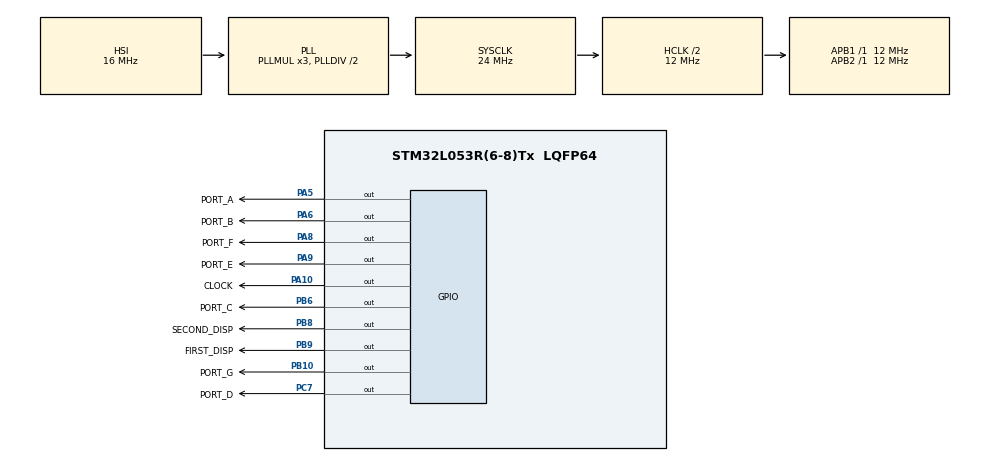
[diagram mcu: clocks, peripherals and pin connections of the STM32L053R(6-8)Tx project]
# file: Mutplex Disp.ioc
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Mcu.Family=STM32L0
Mcu.Name=STM32L053R(6-8)Tx
Mcu.Package=LQFP64
NVIC.TIM21_IRQn=true\:0\:0\:false\:false\:true\:true\:true\:true
PA10.GPIO_Label=CLOCK
PA10.Signal=GPIO_Output
PA5.GPIO_Label=PORT_A
PA5.Signal=GPIO_Output
PA6.GPIO_Label=PORT_B
PA6.Signal=GPIO_Output
PA8.GPIO_Label=PORT_F
PA8.Signal=GPIO_Output
PA9.GPIO_Label=PORT_E
PA9.Signal=GPIO_Output
PB10.GPIO_Label=PORT_G
PB10.Signal=GPIO_Output
PB6.GPIO_Label=PORT_C
PB6.Signal=GPIO_Output
PB8.GPIO_Label=SECOND_DISP
PB8.Signal=GPIO_Output
PB9.GPIO_Label=FIRST_DISP
PB9.Signal=GPIO_Output
PC7.GPIO_Label=PORT_D
PC7.Signal=GPIO_Output
ProjectManager.HeapSize=0x200
ProjectManager.StackSize=0x400
ProjectManager.TargetToolchain=STM32CubeIDE
RCC.AHBCLKDivider=RCC_SYSCLK_DIV2
RCC.AHBFreq_Value=12000000
RCC.APB1Freq_Value=12000000
RCC.APB1TimFreq_Value=12000000
RCC.APB2Freq_Value=12000000
RCC.APB2TimFreq_Value=12000000
RCC.HCLKFreq_Value=12000000
RCC.HSE_VALUE=8000000
RCC.HSI16_VALUE=16000000
RCC.HSI48_VALUE=48000000
RCC.HSI_VALUE=16000000
RCC.MSI_VALUE=2097000
RCC.SYSCLKFreq_VALUE=24000000
RCC.SYSCLKSource=RCC_SYSCLKSOURCE_PLLCLK
RCC.VCOOutputFreq_Value=48000000
TIM21.AutoReloadPreload=TIM_AUTORELOAD_PRELOAD_ENABLE
TIM21.Period=500
TIM21.Prescaler=12000
VP_TIM21_VS_ClockSourceINT.Mode=Internal
board=NUCLEO-L053R8

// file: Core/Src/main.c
/* USER CODE BEGIN Header */
/**
  ******************************************************************************
  * @file           : main.c
  * @brief          : Main program body
  ******************************************************************************
  * @attention
  *
  * Copyright (c) 2025 STMicroelectronics.
  * All rights reserved.
  *
  * This software is licensed under terms that can be found in the LICENSE file
  * in the root directory of this software component.
  * If no LICENSE file comes with this software, it is provided AS-IS.
  *
  ******************************************************************************
  */
/* USER CODE END Header */
#include "main.h"

TIM_HandleTypeDef htim21;

/* USER CODE BEGIN PV */
uint8_t count 	  = 0,
		countDeca = 0,
		atualDisp = 0;

char numbers[10][7] = { {1, 1, 1, 1, 1, 1, 0},  // count = 0
						{0, 1, 1, 0, 0, 0, 0},  // count = 1
						{1, 1, 0, 1, 1, 0, 1},  // count = 2
						{1, 1, 1, 1, 0, 0, 1},  // count = 3
						{0, 1, 1, 0, 0, 1, 1},  // count = 4
						{1, 0, 1, 1, 0, 1, 1},  // count = 5
						{1, 0, 1, 1, 1, 1, 1},  // count = 6
						{1, 1, 1, 0, 0, 0, 0},  // count = 7
						{1, 1, 1, 1, 1, 1, 1},  // count = 8
						{1, 1, 1, 1, 0, 1, 1}}; // count = 9
/* USER CODE END PV */

void SystemClock_Config(void);
static void MX_GPIO_Init(void);
static void MX_TIM21_Init(void);
/* USER CODE BEGIN PFP */

void verifyDisp(void);
void counterConfig(void);
void showDisp(uint8_t atualCount);

/* USER CODE END PFP */

int main(void)
{

  /* MCU Configuration--------------------------------------------------------*/

  /* Reset of all peripherals, Initializes the Flash interface and the Systick. */
  HAL_Init();

  /* Configure the system clock */
  SystemClock_Config();

  /* Initialize all configured peripherals */
  MX_GPIO_Init();
  MX_TIM21_Init();
  /* USER CODE BEGIN 2 */

  HAL_TIM_Base_Start_IT(&htim21);

  /* USER CODE END 2 */

  /* Infinite loop */
  /* USER CODE BEGIN WHILE */
  while (1)
  {
	  counterConfig();

    /* USER CODE END WHILE */

  }
}

void SystemClock_Config(void)
{
  RCC_OscInitTypeDef RCC_OscInitStruct = {0};
  RCC_ClkInitTypeDef RCC_ClkInitStruct = {0};

  /** Configure the main internal regulator output voltage
  */
  __HAL_PWR_VOLTAGESCALING_CONFIG(PWR_REGULATOR_VOLTAGE_SCALE1);

  /** Initializes the RCC Oscillators according to the specified parameters
  * in the RCC_OscInitTypeDef structure.
  */
  RCC_OscInitStruct.OscillatorType = RCC_OSCILLATORTYPE_HSI;
  RCC_OscInitStruct.HSIState = RCC_HSI_ON;
  RCC_OscInitStruct.HSICalibrationValue = RCC_HSICALIBRATION_DEFAULT;
  RCC_OscInitStruct.PLL.PLLState = RCC_PLL_ON;
  RCC_OscInitStruct.PLL.PLLSource = RCC_PLLSOURCE_HSI;
  RCC_OscInitStruct.PLL.PLLMUL = RCC_PLLMUL_3;
  RCC_OscInitStruct.PLL.PLLDIV = RCC_PLLDIV_2;
  if (HAL_RCC_OscConfig(&RCC_OscInitStruct) != HAL_OK)
  {
    Error_Handler();
  }

  /** Initializes the CPU, AHB and APB buses clocks
  */
  RCC_ClkInitStruct.ClockType = RCC_CLOCKTYPE_HCLK|RCC_CLOCKTYPE_SYSCLK
                              |RCC_CLOCKTYPE_PCLK1|RCC_CLOCKTYPE_PCLK2;
  RCC_ClkInitStruct.SYSCLKSource = RCC_SYSCLKSOURCE_PLLCLK;
  RCC_ClkInitStruct.AHBCLKDivider = RCC_SYSCLK_DIV2;
  RCC_ClkInitStruct.APB1CLKDivider = RCC_HCLK_DIV1;
  RCC_ClkInitStruct.APB2CLKDivider = RCC_HCLK_DIV1;

  if (HAL_RCC_ClockConfig(&RCC_ClkInitStruct, FLASH_LATENCY_0) != HAL_OK)
  {
    Error_Handler();
  }
}

static void MX_TIM21_Init(void)
{

  TIM_ClockConfigTypeDef sClockSourceConfig = {0};
  TIM_MasterConfigTypeDef sMasterConfig = {0};

  htim21.Instance = TIM21;
  htim21.Init.Prescaler = 12000;
  htim21.Init.CounterMode = TIM_COUNTERMODE_UP;
  htim21.Init.Period = 500;
  htim21.Init.ClockDivision = TIM_CLOCKDIVISION_DIV1;
  htim21.Init.AutoReloadPreload = TIM_AUTORELOAD_PRELOAD_ENABLE;
  if (HAL_TIM_Base_Init(&htim21) != HAL_OK)
  {
    Error_Handler();
  }
  sClockSourceConfig.ClockSource = TIM_CLOCKSOURCE_INTERNAL;
  if (HAL_TIM_ConfigClockSource(&htim21, &sClockSourceConfig) != HAL_OK)
  {
    Error_Handler();
  }
  sMasterConfig.MasterOutputTrigger = TIM_TRGO_RESET;
  sMasterConfig.MasterSlaveMode = TIM_MASTERSLAVEMODE_DISABLE;
  if (HAL_TIMEx_MasterConfigSynchronization(&htim21, &sMasterConfig) != HAL_OK)
  {
    Error_Handler();
  }

}

static void MX_GPIO_Init(void)
{
  GPIO_InitTypeDef GPIO_InitStruct = {0};

  /* GPIO Ports Clock Enable */
  __HAL_RCC_GPIOA_CLK_ENABLE();
  __HAL_RCC_GPIOB_CLK_ENABLE();
  __HAL_RCC_GPIOC_CLK_ENABLE();

  /*Configure GPIO pin Output Level */
  HAL_GPIO_WritePin(GPIOA, PORT_A_Pin|PORT_B_Pin|PORT_F_Pin|PORT_E_Pin
                          |CLOCK_Pin, GPIO_PIN_RESET);

  /*Configure GPIO pin Output Level */
  HAL_GPIO_WritePin(GPIOB, PORT_G_Pin|PORT_C_Pin|SECOND_DISP_Pin|FIRST_DISP_Pin, GPIO_PIN_RESET);

  /*Configure GPIO pin Output Level */
  HAL_GPIO_WritePin(PORT_D_GPIO_Port, PORT_D_Pin, GPIO_PIN_RESET);

  /*Configure GPIO pins : PORT_A_Pin PORT_B_Pin PORT_F_Pin PORT_E_Pin
                           CLOCK_Pin */
  GPIO_InitStruct.Pin = PORT_A_Pin|PORT_B_Pin|PORT_F_Pin|PORT_E_Pin
                          |CLOCK_Pin;
  GPIO_InitStruct.Mode = GPIO_MODE_OUTPUT_PP;
  GPIO_InitStruct.Pull = GPIO_NOPULL;
  GPIO_InitStruct.Speed = GPIO_SPEED_FREQ_LOW;
  HAL_GPIO_Init(GPIOA, &GPIO_InitStruct);

  /*Configure GPIO pins : PORT_G_Pin PORT_C_Pin SECOND_DISP_Pin FIRST_DISP_Pin */
  GPIO_InitStruct.Pin = PORT_G_Pin|PORT_C_Pin|SECOND_DISP_Pin|FIRST_DISP_Pin;
  GPIO_InitStruct.Mode = GPIO_MODE_OUTPUT_PP;
  GPIO_InitStruct.Pull = GPIO_NOPULL;
  GPIO_InitStruct.Speed = GPIO_SPEED_FREQ_LOW;
  HAL_GPIO_Init(GPIOB, &GPIO_InitStruct);

  /*Configure GPIO pin : PORT_D_Pin */
  GPIO_InitStruct.Pin = PORT_D_Pin;
  GPIO_InitStruct.Mode = GPIO_MODE_OUTPUT_PP;
  GPIO_InitStruct.Pull = GPIO_NOPULL;
  GPIO_InitStruct.Speed = GPIO_SPEED_FREQ_LOW;
  HAL_GPIO_Init(PORT_D_GPIO_Port, &GPIO_InitStruct);

}

/* USER CODE BEGIN 4 */

void showDisp(uint8_t atualCount){
	HAL_GPIO_WritePin(PORT_A_GPIO_Port, PORT_A_Pin, numbers[atualCount][0]);
	HAL_GPIO_WritePin(PORT_B_GPIO_Port, PORT_B_Pin, numbers[atualCount][1]);
	HAL_GPIO_WritePin(PORT_C_GPIO_Port, PORT_C_Pin, numbers[atualCount][2]);
	HAL_GPIO_WritePin(PORT_D_GPIO_Port, PORT_D_Pin, numbers[atualCount][3]);
	HAL_GPIO_WritePin(PORT_E_GPIO_Port, PORT_E_Pin, numbers[atualCount][4]);
	HAL_GPIO_WritePin(PORT_F_GPIO_Port, PORT_F_Pin, numbers[atualCount][5]);
	HAL_GPIO_WritePin(PORT_G_GPIO_Port, PORT_G_Pin, numbers[atualCount][6]);
}

void HAL_TIM_PeriodElapsedCallback(TIM_HandleTypeDef *htim){
	count++;
}

void verifyDisp(void){
	switch(atualDisp){
		case 0:
			HAL_GPIO_WritePin(FIRST_DISP_GPIO_Port, FIRST_DISP_Pin, 1);
			HAL_GPIO_WritePin(SECOND_DISP_GPIO_Port, SECOND_DISP_Pin, 0);
			break;
		case 1:
			HAL_GPIO_WritePin(FIRST_DISP_GPIO_Port, FIRST_DISP_Pin, 0);
			HAL_GPIO_WritePin(SECOND_DISP_GPIO_Port, SECOND_DISP_Pin, 1);
			break;
	}
	// Time for stable mode
	HAL_Delay(1);
}

void counterConfig(void){
	switch(atualDisp){
		case 0:
			showDisp(countDeca);
			verifyDisp();
			atualDisp = 1;
			break;

		case 1:
			showDisp(count);
			verifyDisp();
			atualDisp = 0;
			break;
	}

	if (count >= 10){
		count = 0;
		countDeca++;
		if (countDeca >= 10){
			countDeca = 0;
		}
	}
}

/* USER CODE END 4 */

void Error_Handler(void)
{
  __disable_irq();
  while (1)
  {
  }
}
